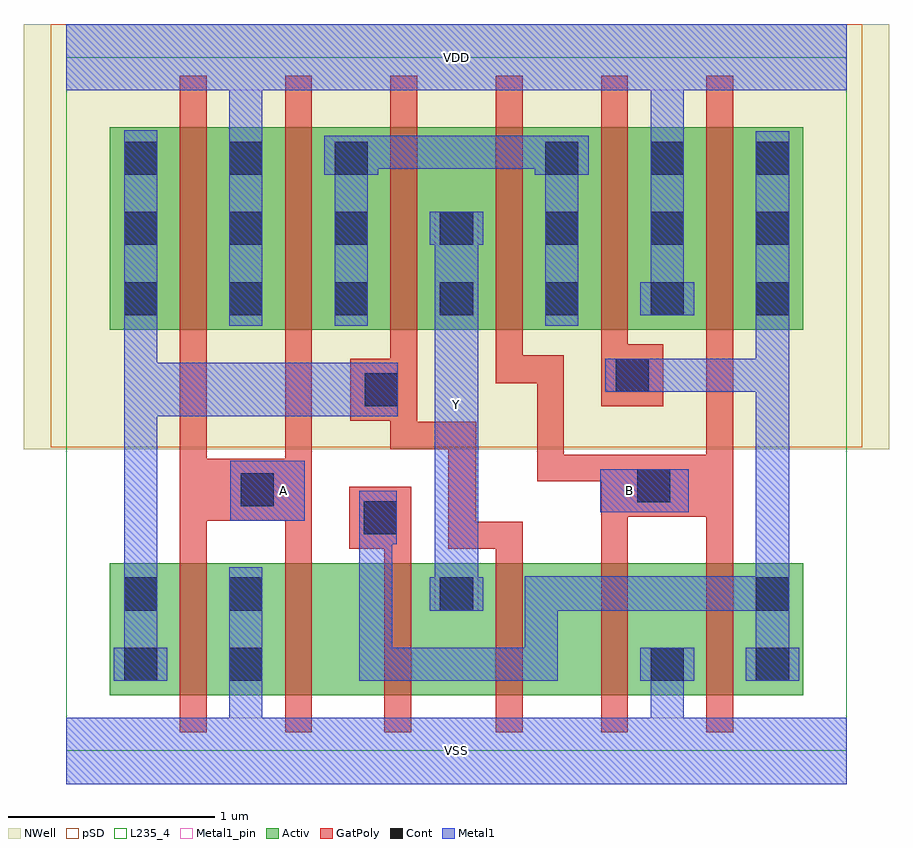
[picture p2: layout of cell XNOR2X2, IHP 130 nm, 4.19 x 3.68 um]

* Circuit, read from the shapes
.subckt XNOR2X2 A B VDD VSS Y
XM1 VSS A n1 VSUBS sg13_lv_nmos w=0.64u l=0.13u
XM2 n2 A VSS VSUBS sg13_lv_nmos w=0.64u l=0.13u
XM3 Y n3 n2 VSUBS sg13_lv_nmos w=0.64u l=0.13u
XM4 n4 n1 Y VSUBS sg13_lv_nmos w=0.64u l=0.13u
XM5 VSS B n4 VSUBS sg13_lv_nmos w=0.64u l=0.13u
XM6 n3 B VSS VSUBS sg13_lv_nmos w=0.64u l=0.13u
XM7 VDD A n1 n5 sg13_lv_pmos w=0.98u l=0.13u
XM8 n6 A VDD n5 sg13_lv_pmos w=0.98u l=0.13u
XM9 Y n1 n6 n5 sg13_lv_pmos w=0.98u l=0.13u
XM10 n6 B Y n5 sg13_lv_pmos w=0.98u l=0.13u
XM11 VDD n3 n6 n5 sg13_lv_pmos w=0.98u l=0.13u
XM12 n3 B VDD n5 sg13_lv_pmos w=0.98u l=0.13u
.ends

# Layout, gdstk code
import gdstk
lib = gdstk.Library(unit=1e-6, precision=1e-09)
def R(c, l, rs):  # rectangles x0, y0, x1, y1
    for r in rs: c.add(gdstk.rectangle(r[:2], r[2:], *l))
def A(c, l, x, y, w, h, nx, ny, dx, dy):  # array of equal rectangles
    R(c, l, [(x+i*dx, y+j*dy, x+i*dx+w, y+j*dy+h) for i in range(nx) for j in range(ny)])
def P(c, l, *ps):  # polygons
    for p in ps: c.add(gdstk.Polygon(p, *l))
Activ = (1, 0)
GatPoly = (5, 0)
Cont = (6, 0)
Metal1 = (8, 0)
Metal1_pin = (8, 2)
pSD = (14, 0)
NWell = (31, 0)
L235_4 = (235, 4)

xnor2x2 = lib.new_cell('XNOR2X2')
R(xnor2x2, Activ, [(0.21,0.27,3.57,0.91), (0.21,2.04,3.57,3.02)])
P(xnor2x2, GatPoly, [(3.23,3.27),(3.1,3.27),(3.1,1.435),(2.41,1.435),(2.41,1.915),(2.21,1.915),(2.21,3.27),(2.08,3.27),(2.08,1.78),(2.28,1.78),(2.28,1.305),(2.59,1.305),(2.59,0.09),(2.72,0.09),(2.72,1.135),(3.1,1.135),(3.1,0.09),(3.23,0.09)],
  [(1.19,3.27),(1.06,3.27),(1.06,1.415),(0.68,1.415),(0.68,3.27),(0.55,3.27),(0.55,0.09),(0.68,0.09),(0.68,1.115),(1.06,1.115),(1.06,0.09),(1.19,0.09)],
  [(2.89,1.97),(2.72,1.97),(2.72,3.27),(2.59,3.27),(2.59,1.67),(2.89,1.67)],
  [(2.21,1.11),(1.985,1.11),(1.985,1.595),(1.7,1.595),(1.7,3.27),(1.57,3.27),(1.57,1.9),(1.375,1.9),(1.375,1.6),(1.57,1.6),(1.57,1.46),(1.85,1.46),(1.85,0.98),(2.08,0.98),(2.08,0.09),(2.21,0.09)],
  [(1.67,1.28),(1.37,1.28),(1.37,0.98),(1.54,0.98),(1.54,0.09),(1.67,0.09)])
A(xnor2x2, Cont, 0.28, 2.11, 0.16, 0.16, 7, 2, 0.51, 0.34)
A(xnor2x2, Cont, 0.28, 2.79, 0.16, 0.16, 3, 1, 0.51, 0)
A(xnor2x2, Cont, 2.32, 2.79, 0.16, 0.16, 3, 1, 0.51, 0)
R(xnor2x2, Cont, [(0.28,0.34,0.44,0.5), (0.79,0.34,0.95,0.5), (2.83,0.34,2.99,0.5), (3.34,0.34,3.5,0.5), (0.28,0.68,0.44,0.84), (0.79,0.68,0.95,0.84), (1.81,0.68,1.97,0.84), (3.34,0.68,3.5,0.84), (1.44,1.05,1.6,1.21), (0.845,1.185,1.005,1.345), (2.765,1.205,2.925,1.365), (1.445,1.67,1.605,1.83), (2.66,1.74,2.82,1.9)])
R(xnor2x2, Metal1, [(0.795,1.115,1.155,1.405), (2.585,1.155,3.015,1.365)])
P(xnor2x2, Metal1, [(2.02,0.84),(1.995,0.84),(1.995,2.45),(2.02,2.45),(2.02,2.61),(1.76,2.61),(1.76,2.45),(1.785,2.45),(1.785,0.84),(1.76,0.84),(1.76,0.68),(2.02,0.68)],
  [(3.78,0.16),(2.99,0.16),(2.99,0.34),(3.04,0.34),(3.04,0.5),(2.78,0.5),(2.78,0.34),(2.83,0.34),(2.83,0.16),(0.95,0.16),(0.95,0.89),(0.79,0.89),(0.79,0.16),(0,0.16),(0,-0.16),(3.78,-0.16)],
  [(3.78,3.52),(0,3.52),(0,3.2),(0.79,3.2),(0.79,2.06),(0.95,2.06),(0.95,3.2),(2.83,3.2),(2.83,2.27),(2.78,2.27),(2.78,2.11),(3.04,2.11),(3.04,2.27),(2.99,2.27),(2.99,3.2),(3.78,3.2)],
  [(3.55,0.5),(3.5,0.5),(3.5,3),(3.34,3),(3.34,1.9),(2.61,1.9),(2.61,1.74),(3.34,1.74),(3.34,0.845),(2.22,0.845),(2.22,0.5),(1.58,0.5),(1.58,1),(1.6,1),(1.6,1.26),(1.42,1.26),(1.42,0.34),(2.38,0.34),(2.38,0.68),(3.34,0.68),(3.34,0.5),(3.29,0.5),(3.29,0.34),(3.55,0.34)],
  [(2.53,2.98),(1.25,2.98),(1.25,2.79),(1.3,2.79),(1.3,2.06),(1.46,2.06),(1.46,2.79),(1.51,2.79),(1.51,2.82),(2.27,2.82),(2.27,2.79),(2.32,2.79),(2.32,2.06),(2.48,2.06),(2.48,2.79),(2.53,2.79)],
  [(1.605,1.88),(0.44,1.88),(0.44,3.005),(0.28,3.005),(0.28,0.5),(0.23,0.5),(0.23,0.34),(0.49,0.34),(0.49,0.5),(0.44,0.5),(0.44,1.62),(1.605,1.62)])
R(xnor2x2, Metal1_pin, [(0,-0.16,3.78,0.16), (1.785,0.68,1.995,2.61), (0.795,1.115,1.155,1.405), (2.585,1.155,3.015,1.365), (0,3.2,3.78,3.52)])
R(xnor2x2, pSD, [(-0.075,1.47,3.855,3.52)])
R(xnor2x2, NWell, [(-0.205,1.46,3.985,3.52)])
R(xnor2x2, L235_4, [(0,0,3.78,3.36)])
xnor2x2.add(gdstk.Label('A', (1.05,1.26), layer=8, texttype=25))
xnor2x2.add(gdstk.Label('B', (2.73,1.26), layer=8, texttype=25))
xnor2x2.add(gdstk.Label('VDD', (1.89,3.36), layer=8, texttype=25))
xnor2x2.add(gdstk.Label('Y', (1.89,1.68), layer=8, texttype=25))
xnor2x2.add(gdstk.Label('VSS', (1.89,0), layer=8, texttype=25))

lib.write_gds('XNOR2X2.gds')
